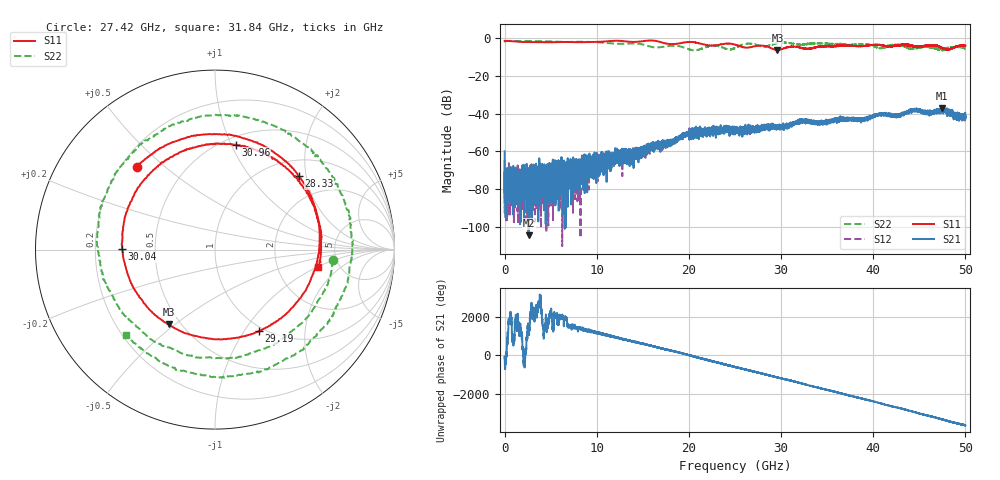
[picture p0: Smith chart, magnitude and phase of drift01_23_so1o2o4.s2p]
!Created with skrf (http://scikit-rf.org).
# Hz S RI R 50.0
!freq ReS11 ImS11 ReS21 ImS21 ReS12 ImS12 ReS22 ImS22
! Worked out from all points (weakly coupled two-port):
!   10001 points, 300 kHz to 50 GHz, reference 50 ohm
!   highest |S21| = -36.92 dB at 47.46 GHz (marker M1); lowest = -104.6 dB at 2.595 GHz (marker M2)
!   lowest |S11| = -6.2 dB at 29.61 GHz (marker M3), VSWR 2.92, Z = 21.6 - j23.7 ohm
!   |S11| at or under -10 dB: nowhere
!   |S22| runs from -6.6 to -1.4 dB; largest |S21 - S12| = 0.0037
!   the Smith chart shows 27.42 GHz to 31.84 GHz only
!   S11 on the Smith chart (normalised r, x): 27.42 GHz: 0.26, +0.41; 28.33 GHz: 1.36, +1.81; 29.19 GHz: 0.94, -1.17; 30.04 GHz: 0.32, +0.00; 30.96 GHz: 0.57, +1.04; 31.84 GHz: 3.48, -1.02
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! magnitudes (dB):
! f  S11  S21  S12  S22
! 300 kHz  -1.3  -59.9  -64.5  -2.1
! 295.3 MHz  -1.4  -74.0  -73.5  -1.4
! 2.595 GHz  -2.0  -104.6  -93.7  -1.4
! 6.06 GHz  -1.9  -80.6  -69.6  -1.8
! 6.75 GHz  -1.9  -74.0  -69.7  -1.9
! 8.335 GHz  -2.0  -65.5  -73.8  -1.8
! 16.67 GHz  -1.6  -54.3  -59.9  -4.8
! 19.98 GHz  -1.9  -50.4  -50.0  -5.8
! 22.62 GHz  -3.8  -49.0  -48.6  -3.8
! 25 GHz  -3.3  -49.0  -50.0  -5.1
! 27.42 GHz  -4.0  -46.2  -47.2  -3.6
! 28.33 GHz  -4.1  -47.6  -46.0  -4.2
! 29.19 GHz  -5.7  -46.8  -46.5  -3.1
! 29.61 GHz  -6.2  -46.8  -47.7  -2.5
! 30.04 GHz  -5.7  -46.9  -46.9  -2.3
! 30.96 GHz  -4.5  -46.2  -45.8  -2.5
! 31.84 GHz  -4.7  -43.4  -44.8  -3.2
! 33.34 GHz  -5.2  -44.7  -44.5  -2.6
! 41.67 GHz  -4.2  -40.6  -40.7  -4.1
! 47.46 GHz  -5.0  -36.9  -37.6  -6.0
! 49.26 GHz  -3.9  -41.4  -41.7  -4.6
! 50 GHz  -3.8  -39.9  -41.5  -5.4
